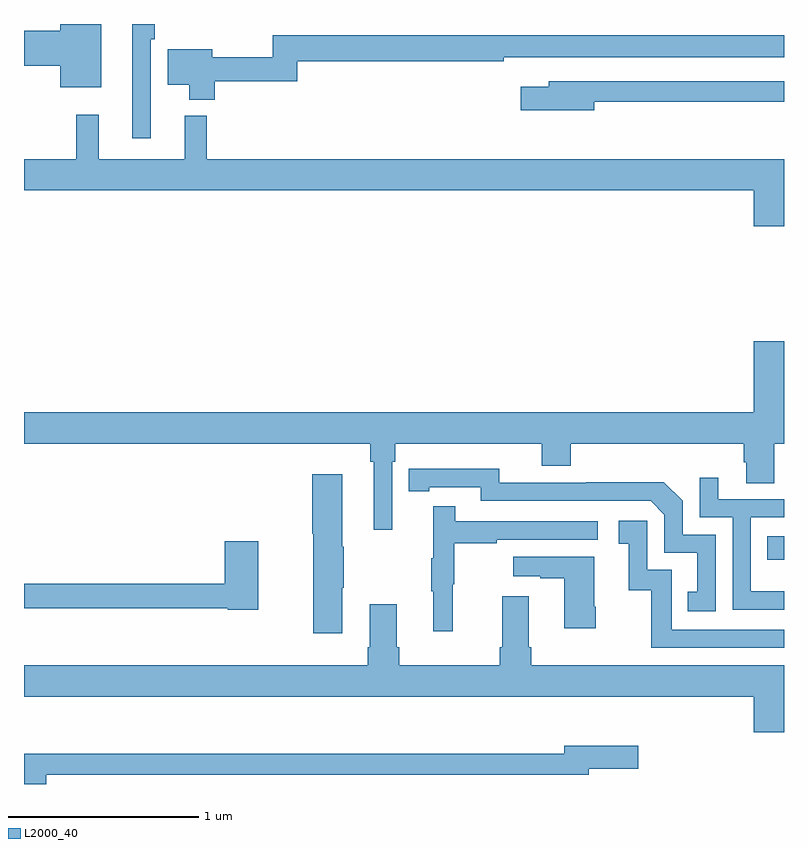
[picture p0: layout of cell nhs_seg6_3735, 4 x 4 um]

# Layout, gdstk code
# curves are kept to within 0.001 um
import gdstk
lib = gdstk.Library(unit=1e-6, precision=1e-09)
def R(c, l, rs):  # rectangles x0, y0, x1, y1
    for r in rs: c.add(gdstk.rectangle(r[:2], r[2:], *l))
def P(c, l, *ps):  # polygons
    for p in ps: c.add(gdstk.Polygon(p, *l))
L2000_40 = (2000, 40)

nhs_seg6_3735 = lib.new_cell('nhs_seg6_3735')
R(nhs_seg6_3735, L2000_40, [(332.911,990.681,333,990.804)])
P(nhs_seg6_3735, L2000_40, [(329.667,993.419),(329.687,993.419),(329.687,993.5),(329.57,993.5),(329.57,992.898),(329.667,992.898)],
  [(329.407,993.5),(329.192,993.5),(329.192,993.464),(329,993.464),(329,993.281),(329.192,993.281),(329.192,993.167),(329.407,993.167)],
  [(330.005,993.198),(330.437,993.198),(330.437,993.304),(331.526,993.304),(331.526,993.324),(333,993.324),(333,993.44),(330.309,993.44),(330.309,993.326),(329.992,993.326),(329.992,993.367),(329.756,993.367),(329.756,993.179),(329.87,993.179),(329.87,993.101),(330.005,993.101)],
  [(332.002,993.09),(333,993.09),(333,993.198),(331.763,993.198),(331.763,993.169),(331.614,993.169),(331.614,993.047),(332.002,993.047)],
  [(333,992.788),(329.963,992.788),(329.963,993.016),(329.846,993.016),(329.846,992.788),(329.393,992.788),(329.393,993.022),(329.275,993.022),(329.275,992.788),(329,992.788),(329,992.624),(332.84,992.624),(332.84,992.436),(333,992.436)],
  [(329,991.292),(330.823,991.292),(330.823,991.196),(330.842,991.196),(330.842,990.837),(330.939,990.837),(330.939,991.196),(330.953,991.196),(330.953,991.292),(331.724,991.292),(331.724,991.175),(331.877,991.175),(331.877,991.292),(332.789,991.292),(332.789,991.194),(332.801,991.194),(332.801,991.084),(332.949,991.084),(332.949,991.292),(333,991.292),(333,991.831),(332.84,991.831),(332.84,991.456),(329,991.456)],
  [(332.64,990.813),(332.466,990.813),(332.466,990.99),(332.368,991.088),(331.96,991.088),(331.96,991.086),(331.5,991.086),(331.5,991.159),(331.024,991.158),(331.024,991.042),(331.132,991.042),(331.132,991.062),(331.404,991.062),(331.404,990.99),(332.298,990.99),(332.37,990.918),(332.37,990.717),(332.543,990.717),(332.543,990.513),(332.494,990.513),(332.494,990.408),(332.64,990.408)],
  [(330.676,990.532),(330.684,990.532),(330.684,990.749),(330.676,990.749),(330.676,991.129),(330.518,991.129),(330.518,990.816),(330.523,990.816),(330.523,990.294),(330.676,990.294)],
  [(333,990.514),(332.826,990.514),(332.826,990.903),(333,990.903),(333,990.999),(332.653,990.999),(332.653,991.111),(332.556,991.111),(332.556,990.903),(332.73,990.903),(332.73,990.417),(333,990.417)],
  [(331.256,990.552),(331.264,990.552),(331.264,990.766),(331.487,990.766),(331.487,990.786),(332.02,990.786),(332.02,990.882),(331.271,990.882),(331.271,990.961),(331.154,990.961),(331.154,990.689),(331.143,990.689),(331.143,990.515),(331.154,990.515),(331.154,990.303),(331.256,990.303)],
  [(333,990.312),(332.409,990.312),(332.409,990.627),(332.28,990.627),(332.28,990.886),(332.13,990.886),(332.13,990.765),(332.183,990.765),(332.183,990.519),(332.301,990.519),(332.301,990.216),(333,990.216)],
  [(330.234,990.778),(330.056,990.778),(330.056,990.554),(329,990.554),(329,990.426),(330.072,990.426),(330.072,990.418),(330.234,990.418)],
  [(332.01,990.433),(332.002,990.433),(332.002,990.697),(331.575,990.697),(331.575,990.593),(331.718,990.593),(331.718,990.583),(331.844,990.583),(331.844,990.321),(332.01,990.321)],
  [(333,990.124),(331.67,990.124),(331.67,990.22),(331.657,990.22),(331.657,990.487),(331.517,990.487),(331.517,990.22),(331.505,990.22),(331.505,990.124),(330.974,990.124),(330.974,990.22),(330.961,990.22),(330.961,990.445),(330.821,990.445),(330.821,990.22),(330.809,990.22),(330.809,990.124),(329,990.124),(329,989.96),(332.84,989.96),(332.84,989.772),(333,989.772)],
  [(329.116,989.55),(331.972,989.55),(331.972,989.579),(332.233,989.579),(332.233,989.701),(331.844,989.701),(331.844,989.659),(329,989.659),(329,989.5),(329.116,989.5)])

lib.write_gds('nhs_seg6_3735.gds')
